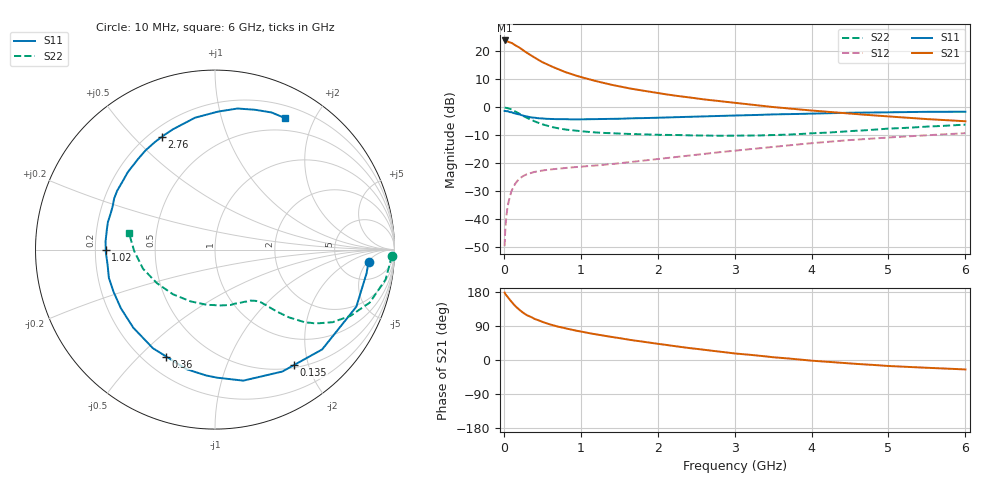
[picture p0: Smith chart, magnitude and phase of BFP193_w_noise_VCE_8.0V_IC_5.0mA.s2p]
! Infineon Technologies  Discrete & RF Semiconductors
! BFP193
! VCE = 8.0 V,  IC =  5.0 mA
! Common Emitter S-Parameters:  Jan 2016
# GHz  S  MA  R  50
!  f  S11  S21  S12  S22
! GHz  MAG  ANG  MAG  ANG  MAG  ANG  MAG  ANG
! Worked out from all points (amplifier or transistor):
!   210 points, 10 MHz to 6 GHz, reference 50 ohm
!   highest |S21| = 23.8 dB at 10 MHz (marker M1)
!   |S21| within 3 dB of that: start of sweep to 225.2 MHz
!   unconditionally stable (mu >= 1): 1.314 GHz to 3.671 GHz
!   at 185 MHz: K = 0.20, MSG = 23.8 dB, |S12| = -26.0 dB
!   at 1.52 GHz: K = 1.07, MAG = 12.0 dB, |S12| = -20.0 dB
!   at 6 GHz: K = 0.89, MSG = 2.1 dB, |S12| = -9.3 dB
!   lowest NFmin = 1.20 dB at 450 MHz
!   S11 on the Smith chart (normalised r, x): 10 MHz: 10, -5; 135 MHz: 0.54, -1.77; 360 MHz: 0.29, -0.60; 1.02 GHz: 0.24, -0.00; 2.76 GHz: 0.25, +0.60; 6 GHz: 0.34, +1.61
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0.01  0.8582 -4.6  15.54 177.9  0.0033 84.5  0.9854 -2.0
0.02  0.8547 -8.9  15.11 173.9  0.0069 85.9  0.9798 -3.9
0.07  0.8226 -30.2  14.5 161.2  0.0228 72.9  0.9408 -13.4
0.1  0.816 -43.0  14.13 153.5  0.0319 68.4  0.9113 -18.9
0.135  0.7796 -55.5  13.09 145.6  0.0399 61.8  0.86 -23.8
0.15  0.776 -61.1  12.73 141.8  0.0435 59.7  0.8401 -26.1
0.2  0.7469 -77.8  11.64 132.7  0.0527 53.3  0.77 -31.7
0.24  0.7136 -89.1  10.64 126.3  0.0576 48.4  0.7131 -35.1
0.3  0.6848 -103.4  9.332 118.3  0.0636 43.6  0.6445 -39.0
0.36  0.6549 -114.5  8.293 112.9  0.0673 40.3  0.5914 -41.0
0.4  0.6493 -122.2  7.65 108.5  0.0699 38.3  0.5564 -42.6
0.5  0.6298 -136.3  6.375 100.4  0.0741 35.1  0.4947 -44.8
0.6  0.6179 -148.1  5.487 93.8  0.0772 33.8  0.4507 -46.3
0.8  0.6118 -165.1  4.23 83.5  0.0821 32.8  0.3989 -48.4
1.02  0.6086 -179.8  3.396 74.3  0.0868 33.5  0.3699 -50.8
1.4  0.6147 161.3  2.51 60.9  0.0963 36.3  0.3437 -56.9
2.02  0.6505 137.7  1.77 42.3  0.1195 40.4  0.3209 -69.8
2.76  0.6947 115.3  1.304 23.2  0.1548 41.1  0.3094 -90.4
3.1  0.7147 107.1  1.152 15.6  0.1732 40.1  0.3104 -101.5
4.1  0.7731 87.2  0.85 -3.1  0.2338 33.5  0.3458 -136.9
5.1  0.8128 72.7  0.669 -16.7  0.2933 23.2  0.4197 -168.0
6  0.8301 62.0  0.561 -24.9  0.343 12.8  0.4885 169.1
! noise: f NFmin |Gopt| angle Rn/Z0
0.45  1.2  0.26  102  0.14
0.9  1.25  0.38  145  0.12
1.8  2.05  0.56  -161  0.12
